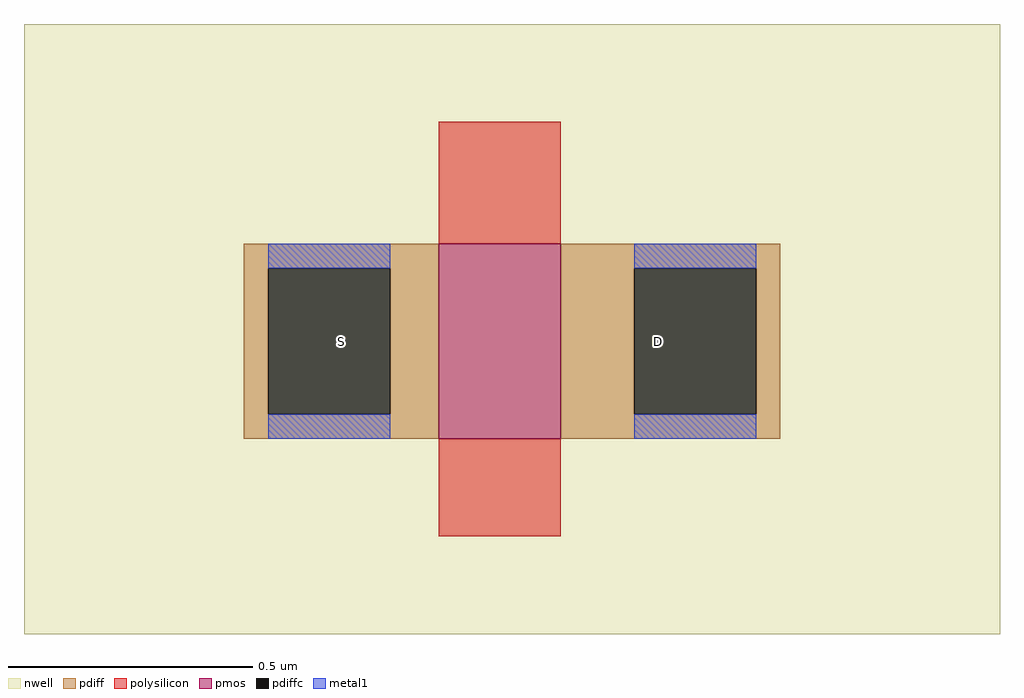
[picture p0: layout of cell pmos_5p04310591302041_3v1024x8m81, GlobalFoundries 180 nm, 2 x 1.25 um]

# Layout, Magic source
magic
tech gf180mcuD
<< nwell >>
rect -17 -8 23 17
<< pmos >>
rect 0 0 5 8
<< pdiff >>
rect -8 7 0 8
rect -8 1 -7 7
rect -2 1 0 7
rect -8 0 0 1
rect 5 7 14 8
rect 5 1 8 7
rect 13 1 14 7
rect 5 0 14 1
<< pdiffc >>
rect -7 1 -2 7
rect 8 1 13 7
<< polysilicon >>
rect 0 8 5 13
rect 0 -4 5 0
<< metal1 >>
rect -7 7 -2 8
rect -7 0 -2 1
rect 8 7 13 8
rect 8 0 13 1
<< labels >>
flabel pdiffc -4 4 -4 4 0 FreeSans 18 0 0 0 S
flabel pdiffc 9 4 9 4 0 FreeSans 18 0 0 0 D
<< end >>
